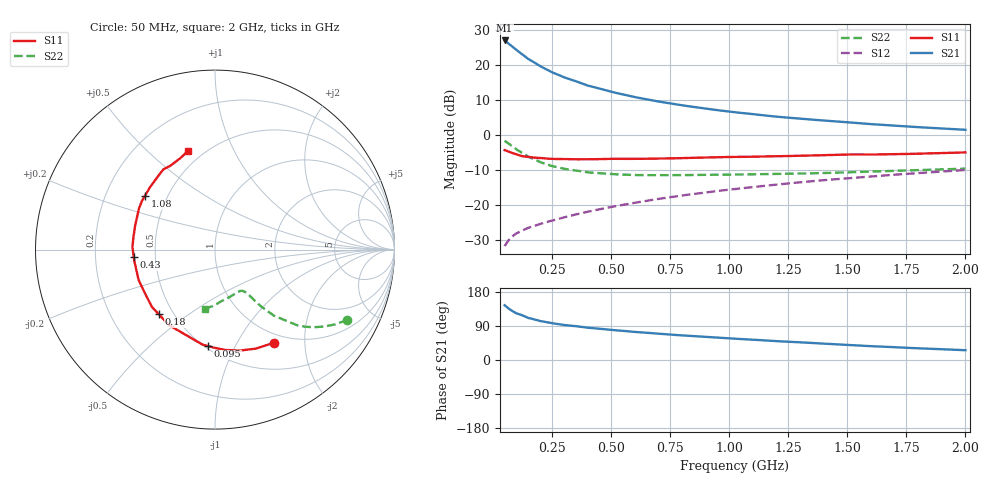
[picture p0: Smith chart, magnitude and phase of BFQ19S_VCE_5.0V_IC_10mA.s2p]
! Infineon Technologies  Discrete & RF Semiconductors
! BFQ19S
! VCE =  5.0 V,  IC =  10 mA
! Common Emitter S-Parameters:  Jan 2016
# GHz  S  MA  R  50
!  f  S11  S21  S12  S22
! GHz  MAG  ANG  MAG  ANG  MAG  ANG  MAG  ANG
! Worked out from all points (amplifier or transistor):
!   391 points, 50 MHz to 2 GHz, reference 50 ohm
!   highest |S21| = 27.0 dB at 50 MHz (marker M1)
!   |S21| within 3 dB of that: start of sweep to 105.1 MHz
!   unconditionally stable (mu >= 1): 500.4 MHz to 1.448 GHz
!   at 375 MHz: K = 0.92, MSG = 18.5 dB, |S12| = -22.2 dB
!   at 1.025 GHz: K = 1.05, MAG = 9.6 dB, |S12| = -15.3 dB
!   at 2 GHz: K = 0.92, MSG = 5.7 dB, |S12| = -9.9 dB
!   S11 on the Smith chart (normalised r, x): 50 MHz: 0.86, -1.43; 95 MHz: 0.52, -0.79; 180 MHz: 0.42, -0.39; 430 MHz: 0.38, -0.04; 1.08 GHz: 0.37, +0.29; 2 GHz: 0.42, +0.67
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0.05  0.6134 -57.9  22.46 144.4  0.0261 66.0  0.8348 -28.0
0.06  0.597 -67.5  21.17 139.2  0.0295 63.0  0.7886 -31.9
0.07  0.5793 -76.3  19.88 134.5  0.0326 60.4  0.7436 -35.2
0.08  0.5623 -84.1  18.65 130.1  0.0352 58.2  0.7011 -38.1
0.095  0.5393 -94.0  16.89 124.9  0.0386 55.8  0.6431 -41.5
0.1  0.5345 -97.3  16.35 123.1  0.0397 55.3  0.6249 -42.5
0.15  0.4929 -121.4  12.24 110.9  0.0477 52.8  0.4929 -48.3
0.18  0.4773 -131.1  10.67 106.6  0.0516 52.9  0.445 -49.7
0.2  0.4749 -137.8  9.662 102.9  0.0542 53.0  0.4133 -50.8
0.25  0.4594 -149.0  7.918 97.0  0.0605 54.1  0.3628 -52.1
0.3  0.4579 -158.3  6.713 92.5  0.067 55.5  0.3319 -52.7
0.375  0.4529 -168.1  5.513 87.4  0.0772 57.5  0.3041 -53.7
0.43  0.4544 -174.6  4.832 83.7  0.0847 58.6  0.2899 -54.6
0.515  0.4598 177.0  4.059 78.6  0.0964 60.0  0.2771 -56.2
0.6  0.4598 170.7  3.496 74.1  0.1085 60.7  0.27 -58.2
0.7  0.4642 164.1  3.028 69.4  0.1232 61.4  0.2687 -61.0
0.89  0.4795 152.6  2.417 61.2  0.1509 61.5  0.2707 -66.7
1.03  0.4897 145.2  2.115 56.0  0.1717 60.9  0.2746 -71.1
1.08  0.4919 142.7  2.031 54.3  0.1791 60.6  0.276 -72.7
1.35  0.5129 129.8  1.669 45.0  0.2202 58.8  0.2859 -81.0
1.675  0.534 115.4  1.386 34.5  0.2692 55.4  0.308 -90.0
2  0.5681 105.6  1.194 25.8  0.3188 51.6  0.3331 -99.8
